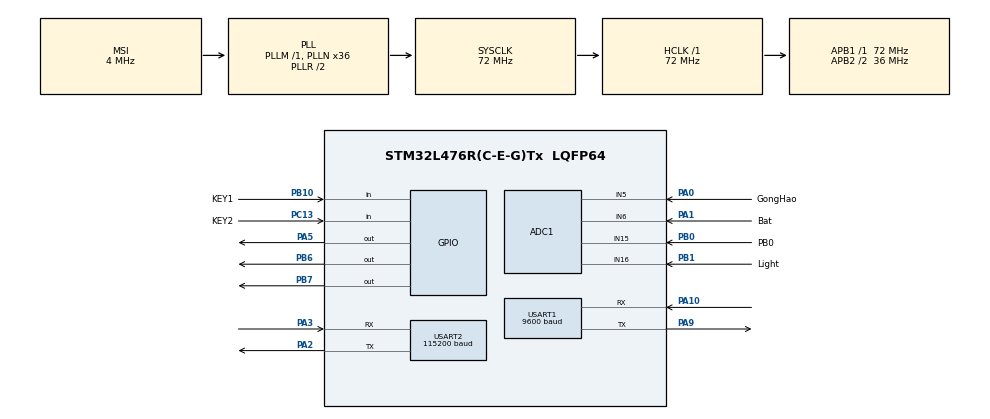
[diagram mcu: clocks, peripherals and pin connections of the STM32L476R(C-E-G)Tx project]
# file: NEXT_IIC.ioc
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ADC1.Channel-0\#ChannelRegularConversion=ADC_CHANNEL_5
ADC1.Channel-1\#ChannelRegularConversion=ADC_CHANNEL_6
ADC1.Channel-2\#ChannelRegularConversion=ADC_CHANNEL_16
ADC1.Channel-3\#ChannelRegularConversion=ADC_CHANNEL_15
ADC1.ContinuousConvMode=ENABLE
ADC1.DMAContinuousRequests=ENABLE
ADC1.NbrOfConversion=4
ADC1.NbrOfConversionFlag=1
ADC1.OffsetNumber-0\#ChannelRegularConversion=ADC_OFFSET_NONE
ADC1.OffsetNumber-1\#ChannelRegularConversion=ADC_OFFSET_NONE
ADC1.OffsetNumber-2\#ChannelRegularConversion=ADC_OFFSET_NONE
ADC1.OffsetNumber-3\#ChannelRegularConversion=ADC_OFFSET_NONE
ADC1.Rank-0\#ChannelRegularConversion=1
ADC1.Rank-1\#ChannelRegularConversion=2
ADC1.Rank-2\#ChannelRegularConversion=3
ADC1.Rank-3\#ChannelRegularConversion=4
ADC1.SamplingTime-0\#ChannelRegularConversion=ADC_SAMPLETIME_247CYCLES_5
ADC1.SamplingTime-1\#ChannelRegularConversion=ADC_SAMPLETIME_247CYCLES_5
ADC1.SamplingTime-2\#ChannelRegularConversion=ADC_SAMPLETIME_247CYCLES_5
ADC1.SamplingTime-3\#ChannelRegularConversion=ADC_SAMPLETIME_247CYCLES_5
ADC1.master=1
Dma.ADC1.0.Direction=DMA_PERIPH_TO_MEMORY
Dma.ADC1.0.Instance=DMA1_Channel1
Dma.ADC1.0.MemDataAlignment=DMA_MDATAALIGN_HALFWORD
Dma.ADC1.0.MemInc=DMA_MINC_ENABLE
Dma.ADC1.0.Mode=DMA_CIRCULAR
Dma.ADC1.0.PeriphDataAlignment=DMA_PDATAALIGN_HALFWORD
Dma.ADC1.0.PeriphInc=DMA_PINC_DISABLE
Dma.ADC1.0.Priority=DMA_PRIORITY_LOW
Dma.Request0=ADC1
Mcu.Family=STM32L4
Mcu.Name=STM32L476R(C-E-G)Tx
Mcu.Package=LQFP64
NVIC.DMA1_Channel1_IRQn=true\:0\:0\:false\:false\:true\:false\:true
NVIC.PriorityGroup=NVIC_PRIORITYGROUP_4
NVIC.TIM2_IRQn=true\:0\:0\:false\:false\:true\:true\:true
NVIC.USART1_IRQn=true\:0\:0\:false\:false\:true\:true\:true
PA0.GPIO_Label=GongHao
PA0.Signal=ADCx_IN5
PA1.GPIO_Label=Bat
PA1.Signal=ADCx_IN6
PA10.Mode=Asynchronous
PA10.Signal=USART1_RX
PA2.Mode=Asynchronous
PA2.Signal=USART2_TX
PA3.Mode=Asynchronous
PA3.Signal=USART2_RX
PA5.Signal=GPIO_Output
PA9.Mode=Asynchronous
PA9.Signal=USART1_TX
PB0.GPIO_Label=PB0
PB0.Signal=ADCx_IN15
PB1.GPIO_Label=Light
PB1.Signal=ADCx_IN16
PB10.GPIO_Label=KEY1
PB10.Signal=GPIO_Input
PB6.Signal=GPIO_Output
PB7.Signal=GPIO_Output
PC13.GPIO_Label=KEY2
PC13.Signal=GPIO_Input
PH0-OSC_IN\ (PH0).Mode=HSE-External-Oscillator
PH0-OSC_IN\ (PH0).Signal=RCC_OSC_IN
PH1-OSC_OUT\ (PH1).Mode=HSE-External-Oscillator
PH1-OSC_OUT\ (PH1).Signal=RCC_OSC_OUT
ProjectManager.HeapSize=0x200
ProjectManager.StackSize=0x400
ProjectManager.TargetToolchain=MDK-ARM V5
RCC.ADCFreq_Value=32000000
RCC.AHBFreq_Value=72000000
RCC.APB1Freq_Value=72000000
RCC.APB1TimFreq_Value=72000000
RCC.APB2CLKDivider=RCC_HCLK_DIV2
RCC.APB2Freq_Value=36000000
RCC.APB2TimFreq_Value=72000000
RCC.CortexFreq_Value=72000000
RCC.HCLKFreq_Value=72000000
RCC.HSE_VALUE=8000000
RCC.HSI_VALUE=16000000
RCC.LSE_VALUE=32768
RCC.MSI_VALUE=4000000
RCC.PLLN=36
RCC.PLLSAI1N=16
RCC.PREFETCH_ENABLE=1
RCC.SYSCLKFreq_VALUE=72000000
RCC.SYSCLKSource=RCC_SYSCLKSOURCE_PLLCLK
RCC.USBFreq_Value=32000000
RCC.VCOOutputFreq_Value=144000000
SH.ADCx_IN15.0=ADC1_IN15,IN15-Single-Ended
SH.ADCx_IN16.0=ADC1_IN16,IN16-Single-Ended
SH.ADCx_IN5.0=ADC1_IN5,IN5-Single-Ended
SH.ADCx_IN6.0=ADC1_IN6,IN6-Single-Ended
TIM2.Period=10-1
TIM2.Prescaler=7200-1
USART1.BaudRate=9600
USART1.VirtualMode-Asynchronous=VM_ASYNC
USART1.WordLength=WORDLENGTH_8B
USART2.BaudRate=115200
USART2.VirtualMode-Asynchronous=VM_ASYNC
USART2.WordLength=WORDLENGTH_8B
VP_TIM1_VS_ClockSourceINT.Mode=Internal
VP_TIM2_VS_ClockSourceINT.Mode=Internal
board=NEXT_IIC

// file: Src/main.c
/**
  ******************************************************************************
  * File Name          : main.c
  * Description        : Main program body
  ******************************************************************************
  ** This notice applies to any and all portions of this file
  * that are not between comment pairs USER CODE BEGIN and
  * USER CODE END. Other portions of this file, whether
  * inserted by the user or by software development tools
  * are owned by their respective copyright owners.
  *
  * COPYRIGHT(c) 2019 STMicroelectronics
  *
  * Redistribution and use in source and binary forms, with or without modification,
  * are permitted provided that the following conditions are met:
  *   1. Redistributions of source code must retain the above copyright notice,
  *      this list of conditions and the following disclaimer.
  *   2. Redistributions in binary form must reproduce the above copyright notice,
  *      this list of conditions and the following disclaimer in the documentation
  *      and/or other materials provided with the distribution.
  *   3. Neither the name of STMicroelectronics nor the names of its contributors
  *      may be used to endorse or promote products derived from this software
  *      without specific prior written permission.
  *
  * THIS SOFTWARE IS PROVIDED BY THE COPYRIGHT HOLDERS AND CONTRIBUTORS "AS IS"
  * AND ANY EXPRESS OR IMPLIED WARRANTIES, INCLUDING, BUT NOT LIMITED TO, THE
  * IMPLIED WARRANTIES OF MERCHANTABILITY AND FITNESS FOR A PARTICULAR PURPOSE ARE
  * DISCLAIMED. IN NO EVENT SHALL THE COPYRIGHT HOLDER OR CONTRIBUTORS BE LIABLE
  * FOR ANY DIRECT, INDIRECT, INCIDENTAL, SPECIAL, EXEMPLARY, OR CONSEQUENTIAL
  * DAMAGES (INCLUDING, BUT NOT LIMITED TO, PROCUREMENT OF SUBSTITUTE GOODS OR
  * SERVICES; LOSS OF USE, DATA, OR PROFITS; OR BUSINESS INTERRUPTION) HOWEVER
  * CAUSED AND ON ANY THEORY OF LIABILITY, WHETHER IN CONTRACT, STRICT LIABILITY,
  * OR TORT (INCLUDING NEGLIGENCE OR OTHERWISE) ARISING IN ANY WAY OUT OF THE USE
  * OF THIS SOFTWARE, EVEN IF ADVISED OF THE POSSIBILITY OF SUCH DAMAGE.
  *
  ******************************************************************************
  */

#include "main.h"
#include "stm32l4xx_hal.h"
#include "adc.h"
#include "dma.h"
#include "tim.h"
#include "usart.h"
#include "gpio.h"

/* USER CODE BEGIN Includes */
#include "I2C.h"
#include "bmp180.h"
#include "delay.h"
#include "stdint.h"
#include "dht11.h"
#include "I2C_2.h"
#include "GY30.h"
#define PUTCHAR_PROTOTYPE int fputc(int ch, FILE *f)
/***********机智云**********/
#include "hal_key.h"
#include "gizwits_product.h"
#include "common.h"
/* USER CODE END Includes */

/* USER CODE BEGIN PV */

/* Private variables ---------------------------------------------------------*/
/***********机智云**********/
DHT11_Data_TypeDef dht11;	float GY_30_value;
	uint8_t UV_index;
//	uint8_t ID = 0;
  uint16_t ADC_Value[12];
	uint32_t ADC_UV;
extern dataPoint_t  tDataPoint;
//TIM_HandleTypeDef htim2;
#define GPIO_KEY_NUM 2 ///< Defines the total number of key member
keyTypedef_t singleKey[GPIO_KEY_NUM]; ///< Defines a single key member array pointer
keysTypedef_t keys;
static void MX_NVIC_Init(void);
/* USER CODE END PV */

void SystemClock_Config(void);
int test_temp=18;
/* USER CODE BEGIN PFP */
/* Private function prototypes -----------------------------------------------*/

/* USER CODE END PFP */

/* USER CODE BEGIN 0 */
/**
* key1 short press handle
* @param none
* @return none
*/
void key1ShortPress(void)
{
    GIZWITS_LOG("KEY1 PRESS ,Production Mode\n");
    gizwitsSetMode(WIFI_PRODUCTION_TEST);
}

/**
* key1 long press handle
* @param none
* @return none
*/
void key1LongPress(void)
{
    GIZWITS_LOG("KEY1 PRESS LONG ,Wifi Reset\n");
    gizwitsSetMode(WIFI_RESET_MODE);

}

/**
* key2 short press handle
* @param none
* @return none
*/
void key2ShortPress(void)
{
    GIZWITS_LOG("KEY2 PRESS ,Soft AP mode\n");
    #if !MODULE_TYPE
    gizwitsSetMode(WIFI_SOFTAP_MODE);
    #endif
}

/**
* key2 long press handle
* @param none
* @return none
*/
void key2LongPress(void)
{
    //AirLink mode
    GIZWITS_LOG("KEY2 PRESS LONG ,AirLink mode\n");
    #if !MODULE_TYPE
    gizwitsSetMode(WIFI_AIRLINK_MODE);
    #endif
}

/**
* Key init function
* @param none
* @return none
*/
void keyInit(void)
{
    singleKey[0] = keyInitOne(NULL, KEY1_GPIO_Port, KEY1_Pin, key1ShortPress, key1LongPress);
    singleKey[1] = keyInitOne(NULL, KEY2_GPIO_Port, KEY2_Pin, key2ShortPress, key2LongPress);
//		singleKey[1] = keyInitOne(KEY2_GPIO_Port, KEY2_Pin,key2ShortPress, key2LongPress);
    keys.singleKey = (keyTypedef_t *)&singleKey;
    keyParaInit(&keys);
}

void userHandle(void)
{
 /*
    currentDataPoint.valueUltraviolet_index = ;//Add Sensor Data Collection
    currentDataPoint.valuetemp_value = ;//Add Sensor Data Collection
    currentDataPoint.valuehumidity_value = ;//Add Sensor Data Collection
    currentDataPoint.valuelight_intensity = ;//Add Sensor Data Collection
    currentDataPoint.valueair_pressure = ;//Add Sensor Data Collection

    */

		static uint32_t cnt = 0;

		if((gizGetTimerCount()-cnt) > 2000) //每隔2000ms读取一次
		{
//    currentDataPoint.valueUltraviolet_index = ADC_UV;//Add Sensor Data Collection
		currentDataPoint.valueUltraviolet_index = 7;//Add Sensor Data Collection
    currentDataPoint.valuetemp_value = dht11.temperature;//Add Sensor Data Collection
    currentDataPoint.valuehumidity_value = dht11.humidity;//Add Sensor Data Collection
    currentDataPoint.valuelight_intensity = (int)GY_30_value;//Add Sensor Data Collection
    currentDataPoint.valueair_pressure = bmp180.p+43000;//Add Sensor Data Collection
			cnt = gizGetTimerCount();
		}

}
/* USER CODE END 0 */

int main(void)
{

  /* MCU Configuration----------------------------------------------------------*/

  /* Reset of all peripherals, Initializes the Flash interface and the Systick. */
  HAL_Init();

  /* Configure the system clock */
  SystemClock_Config();

  /* Initialize all configured peripherals */
  MX_GPIO_Init();
  MX_DMA_Init();
  MX_USART1_UART_Init();
  MX_TIM1_Init();
  MX_ADC1_Init();
  MX_USART2_UART_Init();
  MX_TIM2_Init();

  /* USER CODE BEGIN 2 */
	/***********机智云**********/
	MX_NVIC_Init();

  userInit();
  gizwitsInit();
  keyInit();

	timerInit();
  uartInit();
  GIZWITS_LOG("MCU Init Success \n");
	/***********机智云**********/
  /* USER CODE END 2 */

  /* Infinite loop */

  /* USER CODE BEGIN 3 */
  HAL_Init();
	MX_TIM1_Init();

	DHT11_Init(); // DHT11初始化（单总线）
	GY30_Int(); // GY30初始化（IIC）
	BMP_Init(); // BMP180初始化（IIC）
	BMP_ReadCalibrationData();
	HAL_ADC_Start_DMA(&hadc1, (uint32_t*)ADC_Value, 12); // 开启DMA读取四路ADC
	HAL_GPIO_WritePin(GPIOA, LL_GPIO_PIN_7, GPIO_PIN_SET);

	while(1)
	{
		 userHandle();
     gizwitsHandle((dataPoint_t *)&currentDataPoint);

    /* （DHT11）读取温湿度信息 */
		DHT11_Read_TempAndHumidity(&dht11);

		/* （BMP180）读取大气压以及对应海拔 */
//		ID = BMP_ReadOneByte(0xd0);
		BMP_UncompemstatedToTrue();

		/* （adc）读取四路adc值 */
		ADC_UV = 0;
		for(uint8_t i = 0 ;i < 12;)
		{
			ADC_UV += ADC_Value[i++];
			i++;
			i++;
			i++;
		}
		/**ADC1 GPIO Configuration
    PA0     ------> ADC1_IN5
    PA1     ------> ADC1_IN6
    PB0     ------> ADC1_IN15
    PB1     ------> ADC1_IN16
    */
		/* （GY_30）读取光强 */
		GY_30_value = GY30_GetLight();

//		printf(" ADC_功耗 value = %1.3fmA \r\n", (ADC_UV/3.0f));//ADC1 PA0
		/* 通过采集到的电压值计算紫外线等级 */
		ADC_UV = ADC_UV*3300/4096;

		if(ADC_UV<227) UV_index = 0;
		else if(ADC_UV<318) UV_index = 1;
		else if(ADC_UV<408) UV_index = 2;
		else if(ADC_UV<503) UV_index = 3;
		else if(ADC_UV<606) UV_index = 4;
		else if(ADC_UV<696) UV_index = 5;
		else if(ADC_UV<795) UV_index = 6;
		else if(ADC_UV<881) UV_index = 7;
		else if(ADC_UV<976) UV_index = 8;
		else if(ADC_UV<1079) UV_index = 9;
		else if(ADC_UV<1170) UV_index = 10;
		else UV_index = 11;

//		printf("temp = %.2f ; humi = %.2f\r\n",dht11.temperature,dht11.humidity); //打印温湿度信息
//
//		printf("Pressure = %ldPa\t   Altitude = %.5fm\r\n", bmp180.p+43000,bmp180.altitude/10); // 打印大气压强以及对应的海拔

//		printf("ADC_光强_value = %1.3f LUX \r\n", GY_30_value); // 打印光强
//
//		printf(" ADC_紫外线_index = %d \r\n", UV_index); // 打印紫外线等级

//		HAL_GPIO_WritePin(GPIOA, LL_GPIO_PIN_5, GPIO_PIN_SET);

//		HAL_GPIO_WritePin(GPIOA, LL_GPIO_PIN_5, GPIO_PIN_SET);//提示系统正在运行
//		myDelay(500);
//		HAL_GPIO_WritePin(GPIOA, LL_GPIO_PIN_5, GPIO_PIN_RESET);
//		myDelay(500);
//		myDelay(10000);

	}
  /* USER CODE END 3 */

}

/** System Clock Configuration
*/
void SystemClock_Config(void)
{

  RCC_OscInitTypeDef RCC_OscInitStruct;
  RCC_ClkInitTypeDef RCC_ClkInitStruct;
  RCC_PeriphCLKInitTypeDef PeriphClkInit;

    /**Initializes the CPU, AHB and APB busses clocks
    */
  RCC_OscInitStruct.OscillatorType = RCC_OSCILLATORTYPE_MSI;
  RCC_OscInitStruct.MSIState = RCC_MSI_ON;
  RCC_OscInitStruct.MSICalibrationValue = 0;
  RCC_OscInitStruct.MSIClockRange = RCC_MSIRANGE_6;
  RCC_OscInitStruct.PLL.PLLState = RCC_PLL_ON;
  RCC_OscInitStruct.PLL.PLLSource = RCC_PLLSOURCE_MSI;
  RCC_OscInitStruct.PLL.PLLM = 1;
  RCC_OscInitStruct.PLL.PLLN = 36;
  RCC_OscInitStruct.PLL.PLLP = RCC_PLLP_DIV7;
  RCC_OscInitStruct.PLL.PLLQ = RCC_PLLQ_DIV2;
  RCC_OscInitStruct.PLL.PLLR = RCC_PLLR_DIV2;
  if (HAL_RCC_OscConfig(&RCC_OscInitStruct) != HAL_OK)
  {
    _Error_Handler(__FILE__, __LINE__);
  }

    /**Initializes the CPU, AHB and APB busses clocks
    */
  RCC_ClkInitStruct.ClockType = RCC_CLOCKTYPE_HCLK|RCC_CLOCKTYPE_SYSCLK
                              |RCC_CLOCKTYPE_PCLK1|RCC_CLOCKTYPE_PCLK2;
  RCC_ClkInitStruct.SYSCLKSource = RCC_SYSCLKSOURCE_PLLCLK;
  RCC_ClkInitStruct.AHBCLKDivider = RCC_SYSCLK_DIV1;
  RCC_ClkInitStruct.APB1CLKDivider = RCC_HCLK_DIV1;
  RCC_ClkInitStruct.APB2CLKDivider = RCC_HCLK_DIV2;

  if (HAL_RCC_ClockConfig(&RCC_ClkInitStruct, FLASH_LATENCY_3) != HAL_OK)
  {
    _Error_Handler(__FILE__, __LINE__);
  }

  PeriphClkInit.PeriphClockSelection = RCC_PERIPHCLK_USART1|RCC_PERIPHCLK_USART2
                              |RCC_PERIPHCLK_ADC;
  PeriphClkInit.Usart1ClockSelection = RCC_USART1CLKSOURCE_PCLK2;
  PeriphClkInit.Usart2ClockSelection = RCC_USART2CLKSOURCE_PCLK1;
  PeriphClkInit.AdcClockSelection = RCC_ADCCLKSOURCE_PLLSAI1;
  PeriphClkInit.PLLSAI1.PLLSAI1Source = RCC_PLLSOURCE_MSI;
  PeriphClkInit.PLLSAI1.PLLSAI1M = 1;
  PeriphClkInit.PLLSAI1.PLLSAI1N = 16;
  PeriphClkInit.PLLSAI1.PLLSAI1P = RCC_PLLP_DIV7;
  PeriphClkInit.PLLSAI1.PLLSAI1Q = RCC_PLLQ_DIV2;
  PeriphClkInit.PLLSAI1.PLLSAI1R = RCC_PLLR_DIV2;
  PeriphClkInit.PLLSAI1.PLLSAI1ClockOut = RCC_PLLSAI1_ADC1CLK;
  if (HAL_RCCEx_PeriphCLKConfig(&PeriphClkInit) != HAL_OK)
  {
    _Error_Handler(__FILE__, __LINE__);
  }

    /**Configure the main internal regulator output voltage
    */
  if (HAL_PWREx_ControlVoltageScaling(PWR_REGULATOR_VOLTAGE_SCALE1) != HAL_OK)
  {
    _Error_Handler(__FILE__, __LINE__);
  }

    /**Configure the Systick interrupt time
    */
  HAL_SYSTICK_Config(HAL_RCC_GetHCLKFreq()/1000);

    /**Configure the Systick
    */
  HAL_SYSTICK_CLKSourceConfig(SYSTICK_CLKSOURCE_HCLK);

  /* SysTick_IRQn interrupt configuration */
  HAL_NVIC_SetPriority(SysTick_IRQn, 0, 0);
}

/* USER CODE BEGIN 4 */
PUTCHAR_PROTOTYPE
{
  /* Place your implementation of fputc here */
  /* e.g. write a character to the USART1 and Loop until the end of transmission */
  HAL_UART_Transmit(&huart2,(uint8_t*)&ch, 1, 0xFFFF);

  return ch;
}
/** NVIC Configuration
*/
static void MX_NVIC_Init(void)
{
  /* TIM2_IRQn interrupt configuration */
  HAL_NVIC_SetPriority(TIM2_IRQn, 1, 0);
  HAL_NVIC_EnableIRQ(TIM2_IRQn);
  /* USART2_IRQn interrupt configuration */
  HAL_NVIC_SetPriority(USART2_IRQn, 0, 0);
  HAL_NVIC_EnableIRQ(USART2_IRQn);
}
//void HAL_TIM_PeriodElapsedCallback(TIM_HandleTypeDef *htim)
//{
//	if(htim==&htim2)
//	{
//			keyHandle((keysTypedef_t *)&keys);
//			gizTimerMs();
//	}
//}
/* USER CODE END 4 */

void _Error_Handler(char * file, int line)
{
  while(1)
  {
  }
}

/************************ (C) COPYRIGHT STMicroelectronics *****END OF FILE****/
